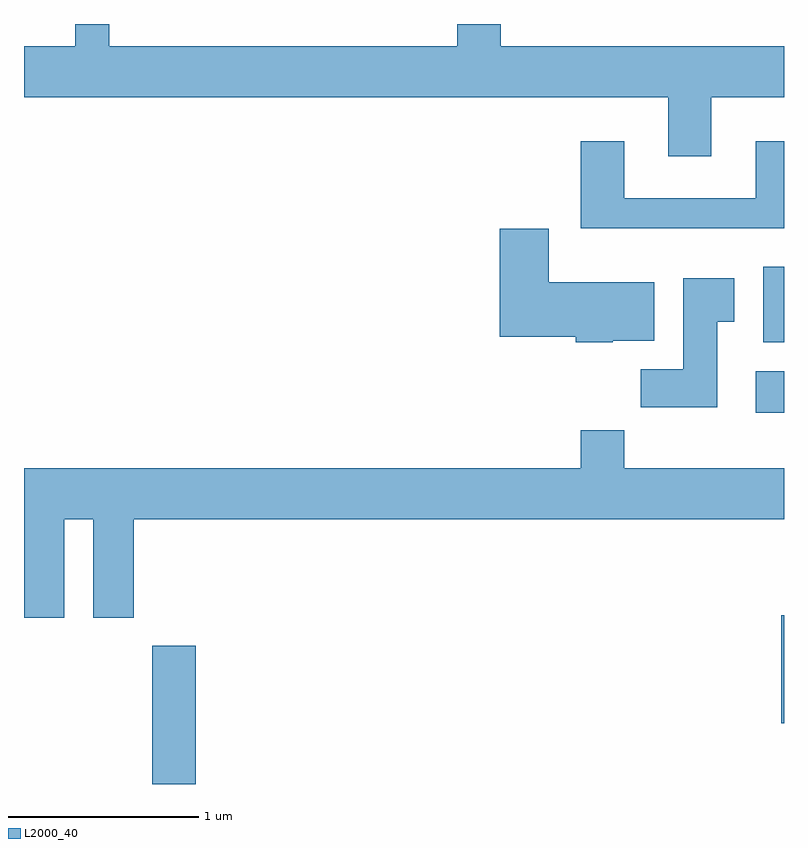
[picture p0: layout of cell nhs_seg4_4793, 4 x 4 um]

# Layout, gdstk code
import gdstk
lib = gdstk.Library(unit=1e-6, precision=1e-09)
def R(c, l, rs):  # rectangles x0, y0, x1, y1
    for r in rs: c.add(gdstk.rectangle(r[:2], r[2:], *l))
def P(c, l, *ps):  # polygons
    for p in ps: c.add(gdstk.Polygon(p, *l))
L2000_40 = (2000, 40)

nhs_seg4_4793 = lib.new_cell('nhs_seg4_4793')
R(nhs_seg4_4793, L2000_40, [(326.286,1319.982,326.514,1320.709), (329.596,1320.301,329.611,1320.869), (329.461,1321.936,329.611,1322.154), (329.501,1322.306,329.611,1322.704)])
P(nhs_seg4_4793, L2000_40, [(329.229,1323.596),(329.611,1323.596),(329.611,1323.864),(328.119,1323.864),(328.119,1323.982),(327.891,1323.982),(327.891,1323.864),(326.059,1323.864),(326.059,1323.982),(325.881,1323.982),(325.881,1323.864),(325.611,1323.864),(325.611,1323.596),(329.001,1323.596),(329.001,1323.286),(329.229,1323.286)],
  [(329.611,1323.364),(329.461,1323.364),(329.461,1323.064),(328.769,1323.064),(328.769,1323.364),(328.541,1323.364),(328.541,1322.906),(329.611,1322.906)],
  [(328.71,1322.316),(328.929,1322.316),(328.929,1322.624),(328.374,1322.624),(328.374,1322.904),(328.116,1322.904),(328.116,1322.336),(328.516,1322.336),(328.516,1322.306),(328.71,1322.306)],
  [(329.259,1322.416),(329.349,1322.416),(329.349,1322.644),(329.081,1322.644),(329.081,1322.164),(328.856,1322.164),(328.856,1321.966),(329.259,1321.966)],
  [(325.824,1321.376),(325.976,1321.376),(325.976,1320.856),(326.189,1320.856),(326.189,1321.376),(329.611,1321.376),(329.611,1321.644),(328.769,1321.644),(328.769,1321.844),(328.541,1321.844),(328.541,1321.644),(325.611,1321.644),(325.611,1320.856),(325.824,1320.856)])

lib.write_gds('nhs_seg4_4793.gds')
